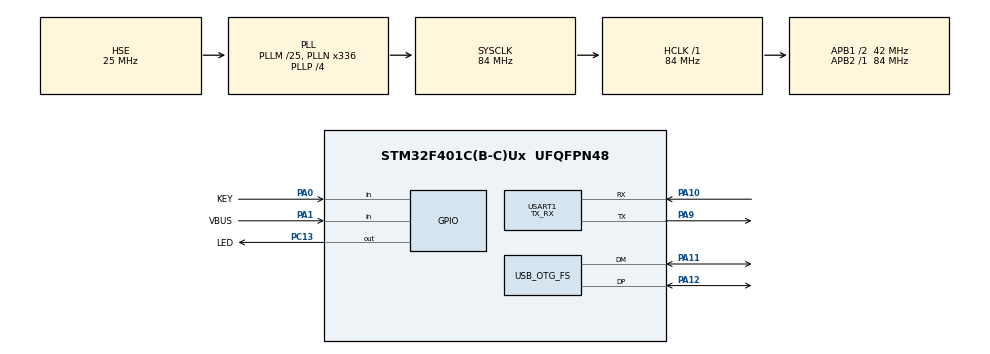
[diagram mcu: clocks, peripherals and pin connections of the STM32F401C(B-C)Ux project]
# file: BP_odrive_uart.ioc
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Mcu.Family=STM32F4
Mcu.Name=STM32F401C(B-C)Ux
Mcu.Package=UFQFPN48
NVIC.OTG_FS_IRQn=true\:0\:0\:false\:false\:true\:false\:true\:true
NVIC.PriorityGroup=NVIC_PRIORITYGROUP_4
NVIC.USART1_IRQn=true\:0\:0\:false\:false\:true\:true\:true\:true
PA0-WKUP.GPIO_Label=KEY
PA0-WKUP.GPIO_PuPd=GPIO_PULLUP
PA0-WKUP.Signal=GPIO_Input
PA1.GPIO_Label=VBUS
PA1.GPIO_PuPd=GPIO_PULLUP
PA1.Signal=GPIO_Input
PA10.GPIO_PuPd=GPIO_NOPULL
PA10.Mode=Asynchronous
PA10.Signal=USART1_RX
PA11.Mode=Device_Only
PA11.Signal=USB_OTG_FS_DM
PA12.Mode=Device_Only
PA12.Signal=USB_OTG_FS_DP
PA13.Mode=Serial_Wire
PA13.Signal=SYS_JTMS-SWDIO
PA14.Mode=Serial_Wire
PA14.Signal=SYS_JTCK-SWCLK
PA9.GPIO_PuPd=GPIO_NOPULL
PA9.Mode=Asynchronous
PA9.Signal=USART1_TX
PC13-ANTI_TAMP.GPIO_Label=LED
PC13-ANTI_TAMP.GPIO_PuPd=GPIO_PULLDOWN
PC13-ANTI_TAMP.Signal=GPIO_Output
PH0\ -\ OSC_IN.Mode=HSE-External-Oscillator
PH0\ -\ OSC_IN.Signal=RCC_OSC_IN
PH1\ -\ OSC_OUT.Mode=HSE-External-Oscillator
PH1\ -\ OSC_OUT.Signal=RCC_OSC_OUT
ProjectManager.HeapSize=0x200
ProjectManager.StackSize=0x400
ProjectManager.TargetToolchain=STM32CubeIDE
RCC.48MHZClocksFreq_Value=48000000
RCC.AHBFreq_Value=84000000
RCC.APB1CLKDivider=RCC_HCLK_DIV2
RCC.APB1Freq_Value=42000000
RCC.APB1TimFreq_Value=84000000
RCC.APB2Freq_Value=84000000
RCC.APB2TimFreq_Value=84000000
RCC.CortexFreq_Value=84000000
RCC.HCLKFreq_Value=84000000
RCC.HSE_VALUE=25000000
RCC.HSI_VALUE=16000000
RCC.LSE_VALUE=32768
RCC.PLLM=25
RCC.PLLN=336
RCC.PLLP=RCC_PLLP_DIV4
RCC.PLLQ=7
RCC.PLLSourceVirtual=RCC_PLLSOURCE_HSE
RCC.SYSCLKFreq_VALUE=84000000
RCC.SYSCLKSource=RCC_SYSCLKSOURCE_PLLCLK
RCC.VCOOutputFreq_Value=336000000
USART1.Mode=MODE_TX_RX
USART1.OverSampling=UART_OVERSAMPLING_8
USART1.Parity=PARITY_NONE
USART1.StopBits=STOPBITS_2
USART1.VirtualMode=VM_ASYNC
USART1.WordLength=WORDLENGTH_8B
USB_DEVICE.CLASS_NAME_FS=CDC
USB_DEVICE.VirtualMode=Cdc
USB_DEVICE.VirtualModeFS=Cdc_FS
USB_OTG_FS.VirtualMode=Device_Only
VP_USB_DEVICE_VS_USB_DEVICE_CDC_FS.Mode=CDC_FS
board=custom

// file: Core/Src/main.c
/* USER CODE BEGIN Header */
/**
  ******************************************************************************
  * @file           : main.c
  * @brief          : Main program body
  ******************************************************************************
  * @attention
  *
  * Copyright (c) 2023 STMicroelectronics.
  * All rights reserved.
  *
  * This software is licensed under terms that can be found in the LICENSE file
  * in the root directory of this software component.
  * If no LICENSE file comes with this software, it is provided AS-IS.
  *
  ******************************************************************************
  */
/* USER CODE END Header */
#include "main.h"
#include "usb_device.h"

/* USER CODE BEGIN Includes */
#include "stdio.h"
#include "string.h"
#include "usbd_cdc_if.h"

/* USER CODE END Includes */

UART_HandleTypeDef huart1;

void SystemClock_Config(void);
static void MX_GPIO_Init(void);
static void MX_USART1_UART_Init(void);

/* USER CODE BEGIN 0 */
char send_t_0	[]  = 	"t 0 0!";
char send_t_200	[] 	= 	"t 0 200!";
char send_vel	[]  = 	"v 0 40 0!";
char send_stop	[]  = 	"v 0 0 0!";
char read_vbus	[]  = 	"r vbus_voltage!";
char read_pos	[]  =	"r axis0.encoder.pos_estimate!";
char read_amp	[]	=	"r axis0.motor.current_control.Iq_measured!";
char read_power	[]	=	"r axis0.controller.electrical_power!";
uint8_t rx_data	[30];
uint8_t buffer[64];
char  counter_str[43];

/* USER CODE END 0 */

int main(void)
{

  /* MCU Configuration--------------------------------------------------------*/

  /* Reset of all peripherals, Initializes the Flash interface and the Systick. */
  HAL_Init();

  /* Configure the system clock */
  SystemClock_Config();

  /* Initialize all configured peripherals */
  MX_GPIO_Init();
  MX_USART1_UART_Init();
  MX_USB_DEVICE_Init();

  /* Infinite loop */
  while (1)
  {

    /* USER CODE BEGIN 3 */
	  if(HAL_GPIO_ReadPin(KEY_GPIO_Port, KEY_Pin)==GPIO_PIN_RESET)
	  {
	  	HAL_UART_Transmit(&huart1, (uint8_t*)send_vel, strlen(send_vel), 1000);
	  	HAL_GPIO_WritePin(LED_GPIO_Port, LED_Pin, GPIO_PIN_SET);
	  	HAL_Delay(1000);
	  }
	  else
	  {
	  	HAL_UART_Transmit(&huart1, (uint8_t*)send_stop	, strlen(send_stop)	, 1000);
 	  	HAL_GPIO_WritePin(LED_GPIO_Port, LED_Pin, GPIO_PIN_RESET);
	  	HAL_Delay(1000);
	  }

	  if(HAL_GPIO_ReadPin(VBUS_GPIO_Port, VBUS_Pin)==GPIO_PIN_RESET)
	  {
		HAL_UART_Transmit(&huart1, (uint8_t*)read_vbus, strlen(read_vbus), 100);
		sprintf(counter_str, "VBUS : %s \r\n", rx_data);
	  }

	  else
	  {
	    HAL_UART_Transmit(&huart1, (uint8_t*) read_pos, strlen(read_pos), 100);
	    sprintf(counter_str, "POS : %s \r\n", rx_data);
	  }

	  if(HAL_GPIO_ReadPin(KEY_GPIO_Port, KEY_Pin)==GPIO_PIN_RESET && HAL_GPIO_ReadPin(VBUS_GPIO_Port, VBUS_Pin)==GPIO_PIN_RESET)
	  {
		HAL_UART_Transmit(&huart1, (uint8_t*) read_amp, strlen(read_amp), 100);
		sprintf(counter_str, "Current : %s \r\n",rx_data);
	  }
	  else if(HAL_GPIO_ReadPin(KEY_GPIO_Port, KEY_Pin)==GPIO_PIN_SET && HAL_GPIO_ReadPin(VBUS_GPIO_Port, VBUS_Pin)==GPIO_PIN_SET)
	  {
		HAL_UART_Transmit(&huart1, (uint8_t*) read_power, strlen(read_power), 100);
		sprintf(counter_str, "Power : %s \r\n",rx_data);
	  }
	  HAL_UART_Receive(&huart1, rx_data, sizeof(rx_data),100); // Reinitialize reception
	  CDC_Transmit_FS((uint8_t*)counter_str, strlen(counter_str));
  }
  /* USER CODE END 3 */
}

void SystemClock_Config(void)
{
  RCC_OscInitTypeDef RCC_OscInitStruct = {0};
  RCC_ClkInitTypeDef RCC_ClkInitStruct = {0};

  /** Configure the main internal regulator output voltage
  */
  __HAL_RCC_PWR_CLK_ENABLE();
  __HAL_PWR_VOLTAGESCALING_CONFIG(PWR_REGULATOR_VOLTAGE_SCALE2);

  /** Initializes the RCC Oscillators according to the specified parameters
  * in the RCC_OscInitTypeDef structure.
  */
  RCC_OscInitStruct.OscillatorType = RCC_OSCILLATORTYPE_HSE;
  RCC_OscInitStruct.HSEState = RCC_HSE_ON;
  RCC_OscInitStruct.PLL.PLLState = RCC_PLL_ON;
  RCC_OscInitStruct.PLL.PLLSource = RCC_PLLSOURCE_HSE;
  RCC_OscInitStruct.PLL.PLLM = 25;
  RCC_OscInitStruct.PLL.PLLN = 336;
  RCC_OscInitStruct.PLL.PLLP = RCC_PLLP_DIV4;
  RCC_OscInitStruct.PLL.PLLQ = 7;
  if (HAL_RCC_OscConfig(&RCC_OscInitStruct) != HAL_OK)
  {
    Error_Handler();
  }

  /** Initializes the CPU, AHB and APB buses clocks
  */
  RCC_ClkInitStruct.ClockType = RCC_CLOCKTYPE_HCLK|RCC_CLOCKTYPE_SYSCLK
                              |RCC_CLOCKTYPE_PCLK1|RCC_CLOCKTYPE_PCLK2;
  RCC_ClkInitStruct.SYSCLKSource = RCC_SYSCLKSOURCE_PLLCLK;
  RCC_ClkInitStruct.AHBCLKDivider = RCC_SYSCLK_DIV1;
  RCC_ClkInitStruct.APB1CLKDivider = RCC_HCLK_DIV2;
  RCC_ClkInitStruct.APB2CLKDivider = RCC_HCLK_DIV1;

  if (HAL_RCC_ClockConfig(&RCC_ClkInitStruct, FLASH_LATENCY_2) != HAL_OK)
  {
    Error_Handler();
  }
}

static void MX_USART1_UART_Init(void)
{

  huart1.Instance = USART1;
  huart1.Init.BaudRate = 115200;
  huart1.Init.WordLength = UART_WORDLENGTH_8B;
  huart1.Init.StopBits = UART_STOPBITS_2;
  huart1.Init.Parity = UART_PARITY_NONE;
  huart1.Init.Mode = UART_MODE_TX_RX;
  huart1.Init.HwFlowCtl = UART_HWCONTROL_NONE;
  huart1.Init.OverSampling = UART_OVERSAMPLING_8;
  if (HAL_UART_Init(&huart1) != HAL_OK)
  {
    Error_Handler();
  }

}

static void MX_GPIO_Init(void)
{
  GPIO_InitTypeDef GPIO_InitStruct = {0};

  /* GPIO Ports Clock Enable */
  __HAL_RCC_GPIOC_CLK_ENABLE();
  __HAL_RCC_GPIOH_CLK_ENABLE();
  __HAL_RCC_GPIOA_CLK_ENABLE();

  /*Configure GPIO pin Output Level */
  HAL_GPIO_WritePin(LED_GPIO_Port, LED_Pin, GPIO_PIN_RESET);

  /*Configure GPIO pin : LED_Pin */
  GPIO_InitStruct.Pin = LED_Pin;
  GPIO_InitStruct.Mode = GPIO_MODE_OUTPUT_PP;
  GPIO_InitStruct.Pull = GPIO_PULLDOWN;
  GPIO_InitStruct.Speed = GPIO_SPEED_FREQ_LOW;
  HAL_GPIO_Init(LED_GPIO_Port, &GPIO_InitStruct);

  /*Configure GPIO pins : KEY_Pin VBUS_Pin */
  GPIO_InitStruct.Pin = KEY_Pin|VBUS_Pin;
  GPIO_InitStruct.Mode = GPIO_MODE_INPUT;
  GPIO_InitStruct.Pull = GPIO_PULLUP;
  HAL_GPIO_Init(GPIOA, &GPIO_InitStruct);

}

void Error_Handler(void)
{
  __disable_irq();
  while (1)
  {
  }
}
